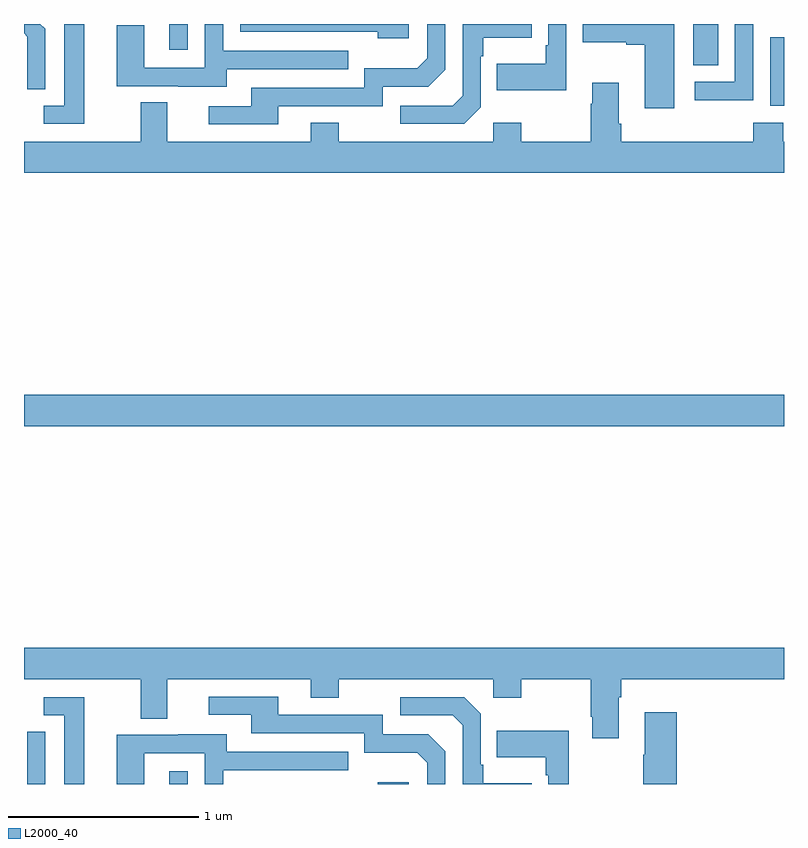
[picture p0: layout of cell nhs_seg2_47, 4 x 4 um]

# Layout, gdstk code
import gdstk
lib = gdstk.Library(unit=1e-6, precision=1e-09)
def R(c, l, rs):  # rectangles x0, y0, x1, y1
    for r in rs: c.add(gdstk.rectangle(r[:2], r[2:], *l))
def P(c, l, *ps):  # polygons
    for p in ps: c.add(gdstk.Polygon(p, *l))
L2000_40 = (2000, 40)

nhs_seg2_47 = lib.new_cell('nhs_seg2_47')
R(nhs_seg2_47, L2000_40, [(113.765,597.8,113.862,597.868), (114.863,597.8,115.024,597.808), (113,599.684,117,599.848), (116.927,601.37,117,601.731), (116.522,601.582,116.653,601.8), (113.765,601.665,113.862,601.8)])
P(nhs_seg2_47, L2000_40, [(113.317,601.8),(113.213,601.8),(113.213,601.371),(113.103,601.371),(113.103,601.275),(113.317,601.275)],
  [(114.067,601.563),(114.707,601.563),(114.707,601.659),(114.048,601.659),(114.048,601.8),(113.952,601.8),(113.952,601.569),(113.634,601.569),(113.634,601.793),(113.489,601.793),(113.489,601.473),(113.813,601.473),(113.813,601.469),(114.067,601.469)],
  [(115.854,601.8),(115.758,601.8),(115.758,601.687),(115.746,601.687),(115.746,601.591),(115.489,601.591),(115.489,601.451),(115.854,601.451)],
  [(115.404,601.362),(115.404,601.631),(115.417,601.631),(115.417,601.727),(115.673,601.727),(115.673,601.8),(115.308,601.8),(115.308,601.422),(115.257,601.371),(114.981,601.371),(114.981,601.275),(115.317,601.275)],
  [(116.422,601.8),(115.941,601.8),(115.941,601.703),(116.171,601.703),(116.171,601.691),(116.267,601.691),(116.267,601.356),(116.422,601.356)],
  [(116.838,601.8),(116.742,601.8),(116.742,601.497),(116.529,601.497),(116.529,601.399),(116.838,601.399)],
  [(114.337,601.368),(114.888,601.368),(114.888,601.47),(115.128,601.47),(115.218,601.56),(115.218,601.8),(115.122,601.8),(115.122,601.62),(115.069,601.567),(114.792,601.567),(114.792,601.464),(114.197,601.464),(114.197,601.368),(113.973,601.368),(113.973,601.272),(114.337,601.272)],
  [(113.112,601.774),(113.086,601.8),(113,601.8),(113,601.751),(113.018,601.733),(113.018,601.61),(113.016,601.61),(113.016,601.456),(113.112,601.456)],
  [(115.024,601.8),(114.138,601.8),(114.138,601.758),(114.863,601.758),(114.863,601.724),(115.024,601.724)],
  [(117,601.18),(116.997,601.18),(116.997,601.279),(116.837,601.279),(116.837,601.18),(116.144,601.18),(116.144,601.276),(116.131,601.276),(116.131,601.492),(115.991,601.492),(115.991,601.379),(115.984,601.379),(115.984,601.18),(115.617,601.18),(115.617,601.279),(115.47,601.279),(115.47,601.18),(114.657,601.18),(114.657,601.279),(114.509,601.279),(114.509,601.18),(113.755,601.18),(113.755,601.388),(113.615,601.388),(113.615,601.18),(113,601.18),(113,601.016),(117,601.016)],
  [(116.131,598.256),(116.144,598.256),(116.144,598.352),(117,598.352),(117,598.516),(113,598.516),(113,598.352),(113.615,598.352),(113.615,598.144),(113.755,598.144),(113.755,598.352),(114.509,598.352),(114.509,598.253),(114.657,598.253),(114.657,598.352),(115.47,598.352),(115.47,598.253),(115.617,598.253),(115.617,598.352),(115.984,598.352),(115.984,598.153),(115.991,598.153),(115.991,598.041),(116.131,598.041)],
  [(115.218,597.972),(115.128,598.062),(114.888,598.062),(114.888,598.164),(114.337,598.164),(114.337,598.26),(113.973,598.26),(113.973,598.164),(114.197,598.164),(114.197,598.068),(114.792,598.068),(114.792,597.965),(115.069,597.965),(115.122,597.912),(115.122,597.8),(115.218,597.8)],
  [(113.317,598.257),(113.103,598.257),(113.103,598.161),(113.213,598.161),(113.213,597.8),(113.317,597.8)],
  [(115.673,597.805),(115.417,597.805),(115.417,597.901),(115.404,597.901),(115.404,598.17),(115.317,598.257),(114.981,598.257),(114.981,598.161),(115.257,598.161),(115.308,598.11),(115.308,597.8),(115.673,597.8)],
  [(116.435,598.177),(116.267,598.177),(116.267,597.953),(116.26,597.953),(116.26,597.8),(116.435,597.8)],
  [(115.867,598.081),(115.489,598.081),(115.489,597.941),(115.746,597.941),(115.746,597.845),(115.758,597.845),(115.758,597.8),(115.867,597.8)],
  [(113.112,598.076),(113.016,598.076),(113.016,597.922),(113.018,597.922),(113.018,597.8),(113.112,597.8)],
  [(113.634,597.963),(113.952,597.963),(113.952,597.8),(114.048,597.8),(114.048,597.873),(114.707,597.873),(114.707,597.969),(114.067,597.969),(114.067,598.063),(113.813,598.063),(113.813,598.059),(113.489,598.059),(113.489,597.8),(113.634,597.8)])

lib.write_gds('nhs_seg2_47.gds')
